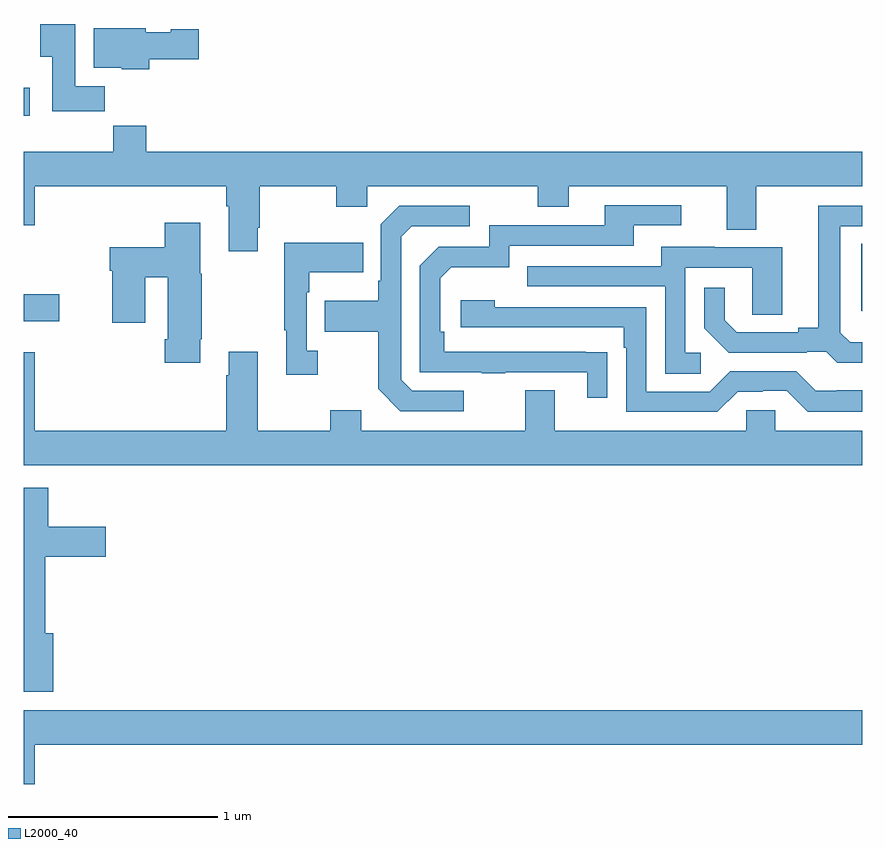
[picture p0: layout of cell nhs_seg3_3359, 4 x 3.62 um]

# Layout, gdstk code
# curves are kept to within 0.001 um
import gdstk
lib = gdstk.Library(unit=1e-6, precision=1e-09)
def R(c, l, rs):  # rectangles x0, y0, x1, y1
    for r in rs: c.add(gdstk.rectangle(r[:2], r[2:], *l))
def P(c, l, *ps):  # polygons
    for p in ps: c.add(gdstk.Polygon(p, *l))
L2000_40 = (2000, 40)

nhs_seg3_3359 = lib.new_cell('nhs_seg3_3359')
R(nhs_seg3_3359, L2000_40, [(285,722.915,285.169,723.045), (285,723.896,285.028,724.03)])
P(nhs_seg3_3359, L2000_40, [(285.386,724.036),(285.247,724.036),(285.247,724.333),(285.08,724.333),(285.08,724.177),(285.137,724.177),(285.137,723.918),(285.386,723.918)],
  [(285.599,724.165),(285.835,724.165),(285.835,724.307),(285.702,724.307),(285.702,724.294),(285.582,724.294),(285.582,724.312),(285.335,724.312),(285.335,724.124),(285.468,724.124),(285.468,724.118),(285.599,724.118)],
  [(286.117,723.361),(286.125,723.361),(286.125,723.56),(286.492,723.56),(286.492,723.461),(286.638,723.461),(286.638,723.56),(287.452,723.56),(287.452,723.461),(287.599,723.461),(287.599,723.56),(288.353,723.56),(288.353,723.352),(288.493,723.352),(288.493,723.56),(289,723.56),(289,723.724),(285.584,723.724),(285.584,723.848),(285.427,723.848),(285.427,723.724),(285,723.724),(285,723.372),(285.052,723.372),(285.052,723.56),(285.965,723.56),(285.965,723.464),(285.977,723.464),(285.977,723.249),(286.117,723.249)],
  [(287.783,722.768),(287.006,722.769),(287.006,722.866),(286.986,722.866),(286.986,723.12),(287.039,723.173),(287.316,723.173),(287.316,723.276),(287.911,723.276),(287.911,723.372),(288.136,723.372),(288.136,723.468),(287.771,723.468),(287.771,723.372),(287.22,723.372),(287.22,723.27),(286.98,723.27),(286.89,723.18),(286.89,722.673),(287.185,722.673),(287.185,722.668),(287.297,722.668),(287.297,722.673),(287.687,722.673),(287.687,722.55),(287.783,722.55)],
  [(289,722.814),(288.942,722.814),(288.895,722.861),(288.895,723.369),(289,723.369),(289,723.465),(288.791,723.465),(288.791,722.885),(288.695,722.885),(288.695,722.862),(288.4,722.862),(288.343,722.919),(288.343,723.076),(288.246,723.076),(288.246,722.882),(288.362,722.766),(288.734,722.766),(288.734,722.769),(288.828,722.769),(288.88,722.717),(289,722.717)],
  [(287.098,722.583),(286.854,722.583),(286.8,722.637),(286.8,723.318),(286.851,723.369),(287.128,723.369),(287.128,723.465),(286.791,723.465),(286.704,723.378),(286.704,723.109),(286.692,723.109),(286.692,723.013),(286.435,723.013),(286.435,722.866),(286.692,722.866),(286.692,722.593),(286.797,722.487),(287.098,722.487)],
  [(285.841,722.83),(285.849,722.83),(285.849,723.141),(285.841,723.141),(285.841,723.385),(285.674,723.385),(285.674,723.267),(285.41,723.267),(285.41,723.155),(285.422,723.155),(285.422,722.907),(285.58,722.907),(285.58,723.125),(285.686,723.125),(285.686,722.83),(285.674,722.83),(285.674,722.718),(285.841,722.718)],
  [(286.402,722.774),(286.35,722.774),(286.35,723.053),(286.363,723.053),(286.363,723.149),(286.619,723.149),(286.619,723.289),(286.242,723.289),(286.242,722.873),(286.253,722.873),(286.253,722.661),(286.402,722.661)],
  [(289,723.284),(288.996,723.284),(288.996,722.966),(289,722.962)],
  [(288.229,722.766),(288.156,722.766),(288.156,723.171),(288.474,723.171),(288.474,722.947),(288.619,722.947),(288.619,723.267),(288.295,723.267),(288.295,723.271),(288.041,723.271),(288.041,723.177),(287.401,723.177),(287.401,723.081),(288.06,723.081),(288.06,722.665),(288.229,722.665)],
  [(289,722.587),(288.877,722.587),(288.877,722.583),(288.777,722.583),(288.684,722.676),(288.369,722.676),(288.273,722.58),(287.97,722.58),(287.97,722.982),(287.246,722.982),(287.246,723.016),(287.085,723.016),(287.085,722.886),(287.861,722.886),(287.861,722.789),(287.874,722.789),(287.874,722.484),(288.309,722.484),(288.405,722.58),(288.524,722.58),(288.524,722.583),(288.639,722.583),(288.739,722.483),(289,722.483)],
  [(289,722.392),(288.585,722.392),(288.585,722.49),(288.447,722.49),(288.447,722.392),(287.533,722.392),(287.533,722.587),(287.393,722.587),(287.393,722.392),(286.609,722.392),(286.609,722.491),(286.462,722.491),(286.462,722.392),(286.117,722.392),(286.117,722.77),(285.977,722.77),(285.977,722.657),(285.965,722.657),(285.965,722.392),(285.052,722.392),(285.052,722.767),(285,722.767),(285,722.228),(289,722.228)],
  [(285.14,721.428),(285.103,721.428),(285.103,721.793),(285.391,721.793),(285.391,721.935),(285.116,721.935),(285.116,722.122),(285,722.122),(285,721.149),(285.14,721.149)],
  [(285.052,720.896),(289,720.896),(289,721.06),(285,721.06),(285,720.708),(285.052,720.708)])

lib.write_gds('nhs_seg3_3359.gds')
